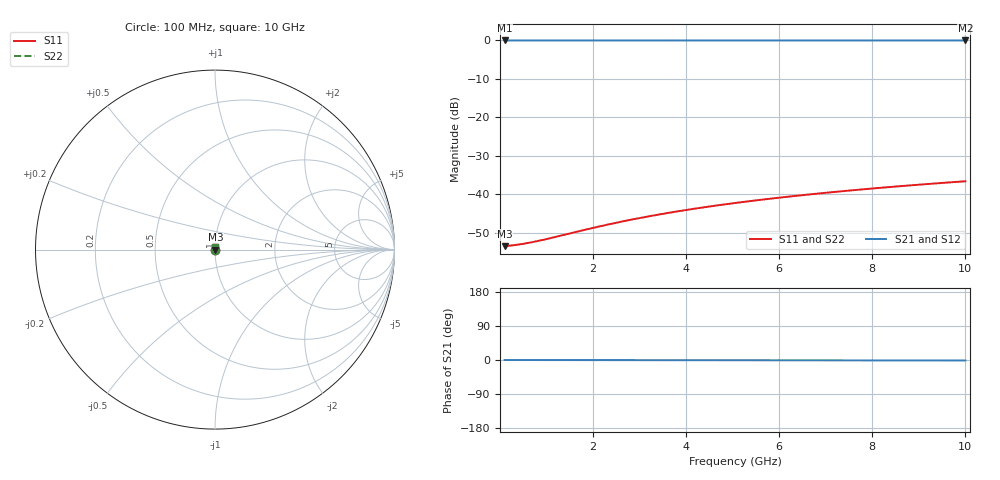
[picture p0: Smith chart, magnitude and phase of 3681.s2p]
# Hz S RI R 50.00
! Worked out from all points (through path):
!   100 points, 100 MHz to 10 GHz, reference 50 ohm
!   highest |S21| = -0.02 dB at 100 MHz (marker M1); lowest = 0.0 dB at 10 GHz (marker M2)
!   lowest |S11| = -53.5 dB at 100 MHz (marker M3), VSWR 1.00, Z = 50.2 + j0.0146 ohm
!   |S11| at or under -10 dB: start of sweep to end of sweep
!   |S22| runs from -53.5 to -36.6 dB; largest |S21 - S12| = 0
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1e8  0.00211 0.000145  0.9979 -0.000215  0.9979 -0.000215  0.00211 0.000145
3e8  0.00214 0.000436  0.9979 -0.000644  0.9979 -0.000644  0.00214 0.000436
4e8  0.00214 0.000581  0.9979 -0.000859  0.9979 -0.000859  0.00214 0.000581
5e8  0.00215 0.000726  0.9978 -0.00107  0.9978 -0.00107  0.00215 0.000726
7e8  0.00216 0.00102  0.9978 -0.0015  0.9978 -0.0015  0.00216 0.00102
9e8  0.00217 0.00131  0.9978 -0.00193  0.9978 -0.00193  0.00217 0.00131
1.1e9  0.00218 0.0016  0.9978 -0.00236  0.9978 -0.00236  0.00218 0.0016
1.8e9  0.00221 0.00261  0.9978 -0.00386  0.9978 -0.00386  0.00221 0.00261
2.2e9  0.00223 0.00319  0.9978 -0.00472  0.9978 -0.00472  0.00223 0.00319
2.6e9  0.00224 0.00377  0.9978 -0.00558  0.9978 -0.00558  0.00224 0.00377
3e9  0.00226 0.00436  0.9977 -0.00644  0.9977 -0.00644  0.00226 0.00436
3.4e9  0.00227 0.00494  0.9977 -0.0073  0.9977 -0.0073  0.00227 0.00494
3.8e9  0.00229 0.00552  0.9977 -0.00816  0.9977 -0.00816  0.00229 0.00552
4.2e9  0.0023 0.0061  0.9977 -0.00902  0.9977 -0.00902  0.0023 0.0061
4.6e9  0.00232 0.00668  0.9977 -0.00988  0.9977 -0.00988  0.00232 0.00668
5.1e9  0.00234 0.0074  0.9976 -0.0109  0.9976 -0.0109  0.00234 0.0074
5.9e9  0.00238 0.00857  0.9976 -0.0127  0.9976 -0.0127  0.00238 0.00857
6.7e9  0.00242 0.00973  0.9976 -0.0144  0.9976 -0.0144  0.00242 0.00973
7.5e9  0.00247 0.0109  0.9975 -0.0161  0.9975 -0.0161  0.00247 0.0109
8.4e9  0.00252 0.0122  0.9975 -0.018  0.9975 -0.018  0.00252 0.0122
9.2e9  0.00257 0.0134  0.9974 -0.0198  0.9974 -0.0198  0.00257 0.0134
1e10  0.00263 0.0145  0.9973 -0.0215  0.9973 -0.0215  0.00263 0.0145
